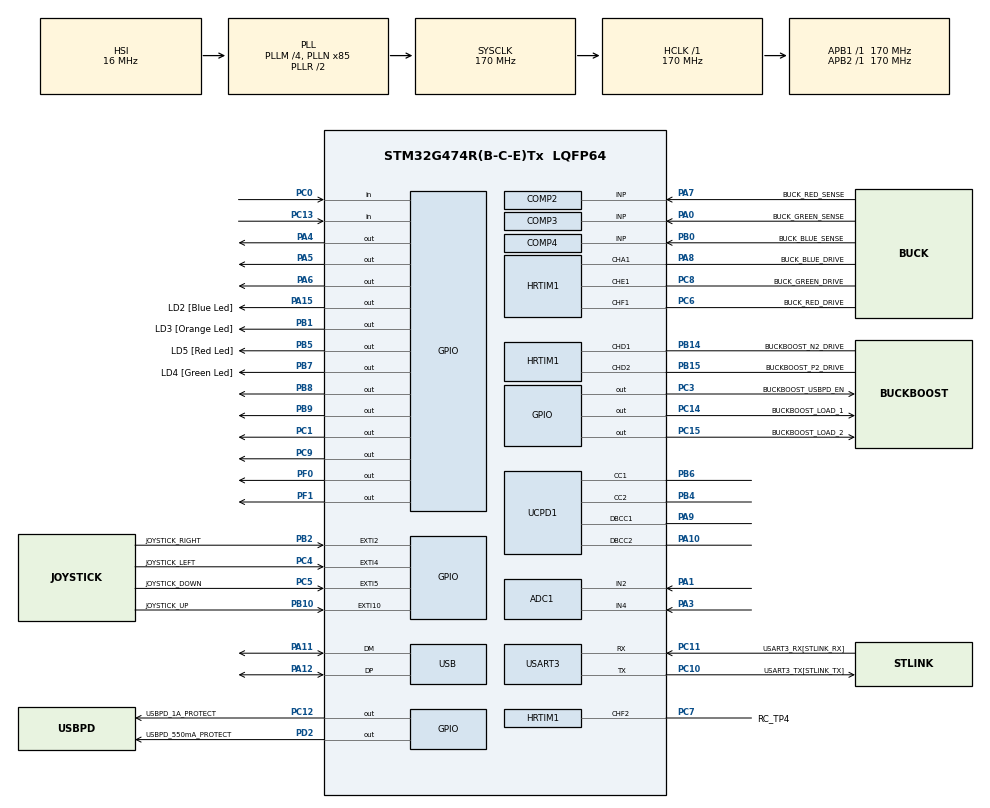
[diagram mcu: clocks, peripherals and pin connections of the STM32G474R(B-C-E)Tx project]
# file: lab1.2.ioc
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ADC1.Channel-2\#ChannelRegularConversion=ADC_CHANNEL_4
ADC1.ClockPrescaler=ADC_CLOCK_ASYNC_DIV4
ADC1.NbrOfConversionFlag=1
ADC1.OffsetNumber-2\#ChannelRegularConversion=ADC_OFFSET_NONE
ADC1.Rank-2\#ChannelRegularConversion=1
ADC1.SamplingTime-2\#ChannelRegularConversion=ADC_SAMPLETIME_2CYCLES_5
ADC1.master=1
DAC3.DAC_Channel-DAC_OUT2_Int=DAC_CHANNEL_2
Mcu.Family=STM32G4
Mcu.Name=STM32G474R(B-C-E)Tx
Mcu.Package=LQFP64
NVIC.EXTI15_10_IRQn=true\:0\:0\:false\:false\:true\:true\:true\:true
NVIC.EXTI2_IRQn=true\:0\:0\:false\:false\:true\:true\:true\:true
NVIC.EXTI4_IRQn=true\:0\:0\:false\:false\:true\:true\:true\:true
NVIC.EXTI9_5_IRQn=true\:0\:0\:false\:false\:true\:true\:true\:true
NVIC.HRTIM1_Master_IRQn=true\:0\:0\:false\:false\:true\:true\:true\:true
NVIC.HRTIM1_TIMF_IRQn=true\:0\:0\:false\:false\:true\:true\:true\:true
NVIC.PriorityGroup=NVIC_PRIORITYGROUP_4
NVIC.USART3_IRQn=true\:0\:0\:false\:false\:true\:true\:true\:true
NVIC.USB_HP_IRQn=true\:0\:0\:false\:false\:true\:true\:true\:true
PA0.GPIO_Label=BUCK_GREEN_SENSE
PA0.Mode=INP
PA0.Signal=COMP3_INP
PA1.Mode=IN2-Single-Ended
PA1.Signal=ADC1_IN2
PA10.Mode=EnableDeadBattery
PA10.Signal=UCPD1_DBCC2
PA11.Mode=Device
PA11.Signal=USB_DM
PA12.Mode=Device
PA12.Signal=USB_DP
PA13.Mode=Serial_Wire
PA13.Signal=SYS_JTMS-SWDIO
PA14.Mode=Serial_Wire
PA14.Signal=SYS_JTCK-SWCLK
PA15.GPIO_Label=LD2 [Blue Led]
PA15.Signal=GPIO_Output
PA2.GPIO_Label=BUCKBOOST_I_IN_AVG
PA2.Signal=ADC1_IN3
PA3.Mode=IN4-Single-Ended
PA3.Signal=ADC1_IN4
PA4.Signal=GPIO_Output
PA5.Signal=GPIO_Output
PA6.Signal=GPIO_Output
PA7.GPIO_Label=BUCK_RED_SENSE
PA7.Mode=INP
PA7.Signal=COMP2_INP
PA8.GPIO_Label=BUCK_BLUE_DRIVE
PA8.Mode=Output_TA1
PA8.Signal=HRTIM1_CHA1
PA9.Mode=EnableDeadBattery
PA9.Signal=UCPD1_DBCC1
PB0.GPIO_Label=BUCK_BLUE_SENSE
PB0.Mode=INP
PB0.Signal=COMP4_INP
PB1.GPIO_Label=LD3 [Orange Led]
PB1.Signal=GPIO_Output
PB10.GPIO_Label=JOYSTICK_UP
PB10.GPIO_PuPd=GPIO_PULLUP
PB10.Signal=GPXTI10
PB13.GPIO_Label=BUCKBOOST_N1_DRIVE
PB13.Signal=HRTIM1_CHC2
PB14.GPIO_Label=BUCKBOOST_N2_DRIVE
PB14.Mode=Output_TD1TD2
PB14.Signal=HRTIM1_CHD1
PB15.GPIO_Label=BUCKBOOST_P2_DRIVE
PB15.Mode=Output_TD1TD2
PB15.Signal=HRTIM1_CHD2
PB2.GPIO_Label=JOYSTICK_RIGHT
PB2.GPIO_PuPd=GPIO_PULLUP
PB2.Signal=GPXTI2
PB3.Signal=SYS_JTDO-SWO
PB4.Mode=Sink_AllSignals
PB4.Signal=UCPD1_CC2
PB5.GPIO_Label=LD5 [Red Led]
PB5.Signal=GPIO_Output
PB6.Mode=Sink_AllSignals
PB6.Signal=UCPD1_CC1
PB7.GPIO_Label=LD4 [Green Led]
PB7.Signal=GPIO_Output
PB8-BOOT0.Signal=GPIO_Output
PB9.Signal=GPIO_Output
PC0.GPIO_PuPd=GPIO_PULLDOWN
PC0.Signal=GPIO_Input
PC1.Signal=GPIO_Output
PC10.GPIO_Label=USART3_TX[STLINK_TX]
PC10.GPIO_Speed=GPIO_SPEED_FREQ_MEDIUM
PC10.Mode=Asynchronous
PC10.Signal=USART3_TX
PC11.GPIO_Label=USART3_RX[STLINK_RX]
PC11.GPIO_Speed=GPIO_SPEED_FREQ_MEDIUM
PC11.Mode=Asynchronous
PC11.Signal=USART3_RX
PC12.GPIO_Label=USBPD_1A_PROTECT
PC12.Signal=GPIO_Output
PC13.Signal=GPIO_Input
PC14-OSC32_IN.GPIO_Label=BUCKBOOST_LOAD_1
PC14-OSC32_IN.Signal=GPIO_Output
PC15-OSC32_OUT.GPIO_Label=BUCKBOOST_LOAD_2
PC15-OSC32_OUT.Signal=GPIO_Output
PC2.GPIO_Label=USBPD_VIN
PC2.Signal=ADC1_IN8
PC3.GPIO_Label=BUCKBOOST_USBPD_EN
PC3.Signal=GPIO_Output
PC4.GPIO_Label=JOYSTICK_LEFT
PC4.GPIO_PuPd=GPIO_PULLUP
PC4.Signal=GPXTI4
PC5.GPIO_Label=JOYSTICK_DOWN
PC5.GPIO_PuPd=GPIO_PULLUP
PC5.Signal=GPXTI5
PC6.GPIO_Label=BUCK_RED_DRIVE
PC6.Mode=Output_TF1TF2
PC6.Signal=HRTIM1_CHF1
PC7.GPIO_Label=RC_TP4
PC7.Mode=Output_TF1TF2
PC7.Signal=HRTIM1_CHF2
PC8.GPIO_Label=BUCK_GREEN_DRIVE
PC8.Mode=Output_TE1
PC8.Signal=HRTIM1_CHE1
PC9.Signal=GPIO_Output
PD2.GPIO_Label=USBPD_550mA_PROTECT
PD2.Signal=GPIO_Output
PF0-OSC_IN.Signal=GPIO_Output
PF1-OSC_OUT.Signal=GPIO_Output
ProjectManager.HeapSize=0x200
ProjectManager.StackSize=0x400
ProjectManager.TargetToolchain=STM32CubeIDE
RCC.ADC12Freq_Value=170000000
RCC.ADC345Freq_Value=170000000
RCC.AHBFreq_Value=170000000
RCC.APB1Freq_Value=170000000
RCC.APB1TimFreq_Value=170000000
RCC.APB2Freq_Value=170000000
RCC.APB2TimFreq_Value=170000000
RCC.CK48CLockSelection=RCC_USBCLKSOURCE_HSI48
RCC.CortexFreq_Value=170000000
RCC.EXTERNAL_CLOCK_VALUE=12288000
RCC.HCLKFreq_Value=170000000
RCC.HSE_VALUE=8000000
RCC.HSI48_VALUE=48000000
RCC.HSI_VALUE=16000000
RCC.LSE_VALUE=32768
RCC.PLLM=RCC_PLLM_DIV4
RCC.PLLN=85
RCC.PLLP=RCC_PLLP_DIV8
RCC.PLLQ=RCC_PLLQ_DIV8
RCC.SYSCLKFreq_VALUE=170000000
RCC.SYSCLKSource=RCC_SYSCLKSOURCE_PLLCLK
RCC.USBFreq_Value=48000000
RCC.VCOOutputFreq_Value=340000000
USART3.ClockPrescaler=PRESCALER_DIV4
USART3.VirtualMode-Asynchronous=VM_ASYNC
USART3.WordLength=WORDLENGTH_8B
VP_COMP2_VS_DAC3OUT2.Mode=INM_DAC3OUT2
VP_COMP3_VS_DAC3OUT1.Mode=INM_DAC3OUT1
VP_COMP4_VS_DAC1OUT1.Mode=INM_DAC1OUT1
VP_DAC1_VS_DACI1.Mode=DAC_OUT1_Int
VP_DAC2_VS_DACI1.Mode=DAC_OUT1_Int
VP_DAC3_VS_DACI1.Mode=DAC_OUT1_Int
VP_DAC3_VS_DACI2.Mode=DAC_OUT2_Int
VP_SYS_VS_DBSignals.Mode=DisableDeadBatterySignals
board=B-G474E-DPOW1

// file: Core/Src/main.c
/* USER CODE BEGIN Header */
/**
  ******************************************************************************
  * @file           : main.c
  * @brief          : Main program body
  ******************************************************************************
  * @attention
  *
  * Copyright (c) 2025 STMicroelectronics.
  * All rights reserved.
  *
  * This software is licensed under terms that can be found in the LICENSE file
  * in the root directory of this software component.
  * If no LICENSE file comes with this software, it is provided AS-IS.
  *
  ******************************************************************************
  */
/* USER CODE END Header */
#include "main.h"

ADC_HandleTypeDef hadc1;

COMP_HandleTypeDef hcomp2;
COMP_HandleTypeDef hcomp3;
COMP_HandleTypeDef hcomp4;

DAC_HandleTypeDef hdac1;
DAC_HandleTypeDef hdac2;
DAC_HandleTypeDef hdac3;

HRTIM_HandleTypeDef hhrtim1;

UART_HandleTypeDef huart3;

PCD_HandleTypeDef hpcd_USB_FS;

/* USER CODE BEGIN PV */
unsigned int LeftRight=0;
unsigned int UpDown=0;

unsigned int LeftRightRef=2100;
unsigned int UpDownRef=2000;
/* USER CODE END PV */

void SystemClock_Config(void);
static void MX_GPIO_Init(void);
static void MX_ADC1_Init(void);
static void MX_COMP2_Init(void);
static void MX_COMP3_Init(void);
static void MX_COMP4_Init(void);
static void MX_DAC1_Init(void);
static void MX_DAC2_Init(void);
static void MX_DAC3_Init(void);
static void MX_HRTIM1_Init(void);
static void MX_UCPD1_Init(void);
static void MX_USART3_UART_Init(void);
static void MX_USB_PCD_Init(void);

int main(void)
{

  /* MCU Configuration--------------------------------------------------------*/

  /* Reset of all peripherals, Initializes the Flash interface and the Systick. */
  HAL_Init();

  /* Configure the system clock */
  SystemClock_Config();

  /* Initialize all configured peripherals */
  MX_GPIO_Init();
  MX_ADC1_Init();
  MX_COMP2_Init();
  MX_COMP3_Init();
  MX_COMP4_Init();
  MX_DAC1_Init();
  MX_DAC2_Init();
  MX_DAC3_Init();
  MX_HRTIM1_Init();
  MX_UCPD1_Init();
  MX_USART3_UART_Init();
  MX_USB_PCD_Init();
  /* USER CODE BEGIN 2 */
HAL_ADC_Start(&hadc1);
while(HAL_ADC_PollForConversion(&hadc1, HAL_MAX_DELAY)!= HAL_OK)
{

}
LeftRight=HAL_ADC_GetValue(&hadc1);

InitGlass();
  /* USER CODE END 2 */

  /* Infinite loop */
  /* USER CODE BEGIN WHILE */
  while (1)
  {
	  char button=HAL_GPIO_ReadPin(GPIOC, GPIO_PIN_0);
	  if (button==1) {
HAL_GPIO_TogglePin(GPIOA, GPIO_PIN_4);
      HAL_Delay(500);
      HAL_GPIO_TogglePin(GPIOA, GPIO_PIN_4);
            HAL_Delay(500);
            HAL_GPIO_TogglePin(GPIOA, GPIO_PIN_4);
                  HAL_Delay(500);
                  HAL_GPIO_TogglePin(GPIOA, GPIO_PIN_4);
                        HAL_Delay(500);
                        HAL_GPIO_TogglePin(GPIOA, GPIO_PIN_4);
                        HAL_Delay(500);

	}
	  else {
		  HAL_GPIO_WritePin(GPIOA, GPIO_PIN_4, GPIO_PIN_RESET);
	      HAL_Delay(500);
	}
	  if (HAL_GPIO_ReadPin(GPIOB, GPIO_PIN_10)==0 && HAL_GPIO_ReadPin(GPIOC, GPIO_PIN_4)==1 && HAL_GPIO_ReadPin(GPIOB, GPIO_PIN_2)==1)
	  {
		HAL_GPIO_WritePin (GPIOF, GPIO_PIN_0, 1);
		HAL_GPIO_WritePin (GPIOF, GPIO_PIN_1, 0);
		HAL_GPIO_WritePin (GPIOA, GPIO_PIN_5, 1);
		HAL_GPIO_WritePin (GPIOC, GPIO_PIN_1, 1);
	  }
	  if (HAL_GPIO_ReadPin(GPIOC, GPIO_PIN_5)==0 && HAL_GPIO_ReadPin(GPIOC, GPIO_PIN_4)==1 && HAL_GPIO_ReadPin(GPIOB, GPIO_PIN_2)==1)
	 	 	  {
	 	 		HAL_GPIO_WritePin (GPIOF, GPIO_PIN_0, 0);
	 	 		HAL_GPIO_WritePin (GPIOF, GPIO_PIN_1, 1);
	 	 		HAL_GPIO_WritePin (GPIOA, GPIO_PIN_5, 0);
	 	 		HAL_GPIO_WritePin (GPIOC, GPIO_PIN_1, 1);
	 	 	  }
	  if (HAL_GPIO_ReadPin(GPIOB, GPIO_PIN_2)==1 && HAL_GPIO_ReadPin(GPIOC, GPIO_PIN_4)==1 && HAL_GPIO_ReadPin(GPIOC, GPIO_PIN_5)==1 && HAL_GPIO_ReadPin(GPIOB, GPIO_PIN_10)==1)
	 	 	  {
	 	 		HAL_GPIO_WritePin (GPIOF, GPIO_PIN_0, 0);
	 	 		HAL_GPIO_WritePin (GPIOF, GPIO_PIN_1, 0);
	 	 		HAL_GPIO_WritePin (GPIOA, GPIO_PIN_5, 0);
	 	 		HAL_GPIO_WritePin (GPIOC, GPIO_PIN_1, 0);
	  			HAL_GPIO_WritePin (GPIOA, GPIO_PIN_6, 0);
	  			HAL_GPIO_WritePin (GPIOB, GPIO_PIN_8, 0);
	  			HAL_GPIO_WritePin (GPIOB, GPIO_PIN_9, 0);
	  			HAL_GPIO_WritePin (GPIOC, GPIO_PIN_9, 0);
	 	 	  }
	  if (HAL_GPIO_ReadPin(GPIOC, GPIO_PIN_4)==0 && HAL_GPIO_ReadPin(GPIOB, GPIO_PIN_10)==1 && HAL_GPIO_ReadPin(GPIOC, GPIO_PIN_5)==1 )
		  {
			HAL_GPIO_WritePin (GPIOA, GPIO_PIN_6, 1);
			HAL_GPIO_WritePin (GPIOB, GPIO_PIN_8, 0);
			HAL_GPIO_WritePin (GPIOB, GPIO_PIN_9, 1);
			HAL_GPIO_WritePin (GPIOC, GPIO_PIN_9, 1);
		  }
	  if (HAL_GPIO_ReadPin(GPIOB, GPIO_PIN_2)==0 && HAL_GPIO_ReadPin(GPIOB, GPIO_PIN_10)==1 && HAL_GPIO_ReadPin(GPIOC, GPIO_PIN_5)==1)
	  		  {
	  			HAL_GPIO_WritePin (GPIOA, GPIO_PIN_6, 0);
	  			HAL_GPIO_WritePin (GPIOB, GPIO_PIN_8, 1);
	  			HAL_GPIO_WritePin (GPIOB, GPIO_PIN_9, 0);
	  			HAL_GPIO_WritePin (GPIOC, GPIO_PIN_9, 1);
	  		  }
    /* USER CODE END WHILE */

  }
}

void SystemClock_Config(void)
{
  RCC_OscInitTypeDef RCC_OscInitStruct = {0};
  RCC_ClkInitTypeDef RCC_ClkInitStruct = {0};

  /** Configure the main internal regulator output voltage
  */
  HAL_PWREx_ControlVoltageScaling(PWR_REGULATOR_VOLTAGE_SCALE1_BOOST);

  /** Initializes the RCC Oscillators according to the specified parameters
  * in the RCC_OscInitTypeDef structure.
  */
  RCC_OscInitStruct.OscillatorType = RCC_OSCILLATORTYPE_HSI|RCC_OSCILLATORTYPE_HSI48;
  RCC_OscInitStruct.HSIState = RCC_HSI_ON;
  RCC_OscInitStruct.HSICalibrationValue = RCC_HSICALIBRATION_DEFAULT;
  RCC_OscInitStruct.HSI48State = RCC_HSI48_ON;
  RCC_OscInitStruct.PLL.PLLState = RCC_PLL_ON;
  RCC_OscInitStruct.PLL.PLLSource = RCC_PLLSOURCE_HSI;
  RCC_OscInitStruct.PLL.PLLM = RCC_PLLM_DIV4;
  RCC_OscInitStruct.PLL.PLLN = 85;
  RCC_OscInitStruct.PLL.PLLP = RCC_PLLP_DIV8;
  RCC_OscInitStruct.PLL.PLLQ = RCC_PLLQ_DIV8;
  RCC_OscInitStruct.PLL.PLLR = RCC_PLLR_DIV2;
  if (HAL_RCC_OscConfig(&RCC_OscInitStruct) != HAL_OK)
  {
    Error_Handler();
  }

  /** Initializes the CPU, AHB and APB buses clocks
  */
  RCC_ClkInitStruct.ClockType = RCC_CLOCKTYPE_HCLK|RCC_CLOCKTYPE_SYSCLK
                              |RCC_CLOCKTYPE_PCLK1|RCC_CLOCKTYPE_PCLK2;
  RCC_ClkInitStruct.SYSCLKSource = RCC_SYSCLKSOURCE_PLLCLK;
  RCC_ClkInitStruct.AHBCLKDivider = RCC_SYSCLK_DIV1;
  RCC_ClkInitStruct.APB1CLKDivider = RCC_HCLK_DIV1;
  RCC_ClkInitStruct.APB2CLKDivider = RCC_HCLK_DIV1;

  if (HAL_RCC_ClockConfig(&RCC_ClkInitStruct, FLASH_LATENCY_4) != HAL_OK)
  {
    Error_Handler();
  }
}

static void MX_ADC1_Init(void)
{

  ADC_MultiModeTypeDef multimode = {0};
  ADC_ChannelConfTypeDef sConfig = {0};

  /** Common config
  */
  hadc1.Instance = ADC1;
  hadc1.Init.ClockPrescaler = ADC_CLOCK_ASYNC_DIV4;
  hadc1.Init.Resolution = ADC_RESOLUTION_12B;
  hadc1.Init.DataAlign = ADC_DATAALIGN_RIGHT;
  hadc1.Init.GainCompensation = 0;
  hadc1.Init.ScanConvMode = ADC_SCAN_DISABLE;
  hadc1.Init.EOCSelection = ADC_EOC_SINGLE_CONV;
  hadc1.Init.LowPowerAutoWait = DISABLE;
  hadc1.Init.ContinuousConvMode = DISABLE;
  hadc1.Init.NbrOfConversion = 1;
  hadc1.Init.DiscontinuousConvMode = DISABLE;
  hadc1.Init.ExternalTrigConv = ADC_SOFTWARE_START;
  hadc1.Init.ExternalTrigConvEdge = ADC_EXTERNALTRIGCONVEDGE_NONE;
  hadc1.Init.DMAContinuousRequests = DISABLE;
  hadc1.Init.Overrun = ADC_OVR_DATA_PRESERVED;
  hadc1.Init.OversamplingMode = DISABLE;
  if (HAL_ADC_Init(&hadc1) != HAL_OK)
  {
    Error_Handler();
  }

  /** Configure the ADC multi-mode
  */
  multimode.Mode = ADC_MODE_INDEPENDENT;
  if (HAL_ADCEx_MultiModeConfigChannel(&hadc1, &multimode) != HAL_OK)
  {
    Error_Handler();
  }

  /** Configure Regular Channel
  */
  sConfig.Channel = ADC_CHANNEL_4;
  sConfig.Rank = ADC_REGULAR_RANK_1;
  sConfig.SamplingTime = ADC_SAMPLETIME_2CYCLES_5;
  sConfig.SingleDiff = ADC_SINGLE_ENDED;
  sConfig.OffsetNumber = ADC_OFFSET_NONE;
  sConfig.Offset = 0;
  if (HAL_ADC_ConfigChannel(&hadc1, &sConfig) != HAL_OK)
  {
    Error_Handler();
  }

}

static void MX_COMP2_Init(void)
{

  hcomp2.Instance = COMP2;
  hcomp2.Init.InputPlus = COMP_INPUT_PLUS_IO1;
  hcomp2.Init.InputMinus = COMP_INPUT_MINUS_DAC3_CH2;
  hcomp2.Init.OutputPol = COMP_OUTPUTPOL_NONINVERTED;
  hcomp2.Init.Hysteresis = COMP_HYSTERESIS_NONE;
  hcomp2.Init.BlankingSrce = COMP_BLANKINGSRC_NONE;
  hcomp2.Init.TriggerMode = COMP_TRIGGERMODE_NONE;
  if (HAL_COMP_Init(&hcomp2) != HAL_OK)
  {
    Error_Handler();
  }

}

static void MX_COMP3_Init(void)
{

  hcomp3.Instance = COMP3;
  hcomp3.Init.InputPlus = COMP_INPUT_PLUS_IO1;
  hcomp3.Init.InputMinus = COMP_INPUT_MINUS_DAC3_CH1;
  hcomp3.Init.OutputPol = COMP_OUTPUTPOL_NONINVERTED;
  hcomp3.Init.Hysteresis = COMP_HYSTERESIS_NONE;
  hcomp3.Init.BlankingSrce = COMP_BLANKINGSRC_NONE;
  hcomp3.Init.TriggerMode = COMP_TRIGGERMODE_NONE;
  if (HAL_COMP_Init(&hcomp3) != HAL_OK)
  {
    Error_Handler();
  }

}

static void MX_COMP4_Init(void)
{

  hcomp4.Instance = COMP4;
  hcomp4.Init.InputPlus = COMP_INPUT_PLUS_IO1;
  hcomp4.Init.InputMinus = COMP_INPUT_MINUS_DAC1_CH1;
  hcomp4.Init.OutputPol = COMP_OUTPUTPOL_NONINVERTED;
  hcomp4.Init.Hysteresis = COMP_HYSTERESIS_NONE;
  hcomp4.Init.BlankingSrce = COMP_BLANKINGSRC_NONE;
  hcomp4.Init.TriggerMode = COMP_TRIGGERMODE_NONE;
  if (HAL_COMP_Init(&hcomp4) != HAL_OK)
  {
    Error_Handler();
  }

}

static void MX_DAC1_Init(void)
{

  DAC_ChannelConfTypeDef sConfig = {0};

  /** DAC Initialization
  */
  hdac1.Instance = DAC1;
  if (HAL_DAC_Init(&hdac1) != HAL_OK)
  {
    Error_Handler();
  }

  /** DAC channel OUT1 config
  */
  sConfig.DAC_HighFrequency = DAC_HIGH_FREQUENCY_INTERFACE_MODE_AUTOMATIC;
  sConfig.DAC_DMADoubleDataMode = DISABLE;
  sConfig.DAC_SignedFormat = DISABLE;
  sConfig.DAC_SampleAndHold = DAC_SAMPLEANDHOLD_DISABLE;
  sConfig.DAC_Trigger = DAC_TRIGGER_NONE;
  sConfig.DAC_Trigger2 = DAC_TRIGGER_NONE;
  sConfig.DAC_OutputBuffer = DAC_OUTPUTBUFFER_DISABLE;
  sConfig.DAC_ConnectOnChipPeripheral = DAC_CHIPCONNECT_INTERNAL;
  sConfig.DAC_UserTrimming = DAC_TRIMMING_FACTORY;
  if (HAL_DAC_ConfigChannel(&hdac1, &sConfig, DAC_CHANNEL_1) != HAL_OK)
  {
    Error_Handler();
  }

}

static void MX_DAC2_Init(void)
{

  DAC_ChannelConfTypeDef sConfig = {0};

  /** DAC Initialization
  */
  hdac2.Instance = DAC2;
  if (HAL_DAC_Init(&hdac2) != HAL_OK)
  {
    Error_Handler();
  }

  /** DAC channel OUT1 config
  */
  sConfig.DAC_HighFrequency = DAC_HIGH_FREQUENCY_INTERFACE_MODE_AUTOMATIC;
  sConfig.DAC_DMADoubleDataMode = DISABLE;
  sConfig.DAC_SignedFormat = DISABLE;
  sConfig.DAC_SampleAndHold = DAC_SAMPLEANDHOLD_DISABLE;
  sConfig.DAC_Trigger = DAC_TRIGGER_NONE;
  sConfig.DAC_Trigger2 = DAC_TRIGGER_NONE;
  sConfig.DAC_OutputBuffer = DAC_OUTPUTBUFFER_DISABLE;
  sConfig.DAC_ConnectOnChipPeripheral = DAC_CHIPCONNECT_INTERNAL;
  sConfig.DAC_UserTrimming = DAC_TRIMMING_FACTORY;
  if (HAL_DAC_ConfigChannel(&hdac2, &sConfig, DAC_CHANNEL_1) != HAL_OK)
  {
    Error_Handler();
  }

}

static void MX_DAC3_Init(void)
{

  DAC_ChannelConfTypeDef sConfig = {0};

  /** DAC Initialization
  */
  hdac3.Instance = DAC3;
  if (HAL_DAC_Init(&hdac3) != HAL_OK)
  {
    Error_Handler();
  }

  /** DAC channel OUT1 config
  */
  sConfig.DAC_HighFrequency = DAC_HIGH_FREQUENCY_INTERFACE_MODE_AUTOMATIC;
  sConfig.DAC_DMADoubleDataMode = DISABLE;
  sConfig.DAC_SignedFormat = DISABLE;
  sConfig.DAC_SampleAndHold = DAC_SAMPLEANDHOLD_DISABLE;
  sConfig.DAC_Trigger = DAC_TRIGGER_NONE;
  sConfig.DAC_Trigger2 = DAC_TRIGGER_NONE;
  sConfig.DAC_OutputBuffer = DAC_OUTPUTBUFFER_DISABLE;
  sConfig.DAC_ConnectOnChipPeripheral = DAC_CHIPCONNECT_INTERNAL;
  sConfig.DAC_UserTrimming = DAC_TRIMMING_FACTORY;
  if (HAL_DAC_ConfigChannel(&hdac3, &sConfig, DAC_CHANNEL_1) != HAL_OK)
  {
    Error_Handler();
  }

  /** DAC channel OUT2 config
  */
  if (HAL_DAC_ConfigChannel(&hdac3, &sConfig, DAC_CHANNEL_2) != HAL_OK)
  {
    Error_Handler();
  }

}

static void MX_HRTIM1_Init(void)
{

  HRTIM_TimeBaseCfgTypeDef pTimeBaseCfg = {0};
  HRTIM_TimerCtlTypeDef pTimerCtl = {0};
  HRTIM_TimerCfgTypeDef pTimerCfg = {0};
  HRTIM_OutputCfgTypeDef pOutputCfg = {0};

  hhrtim1.Instance = HRTIM1;
  hhrtim1.Init.HRTIMInterruptResquests = HRTIM_IT_NONE;
  hhrtim1.Init.SyncOptions = HRTIM_SYNCOPTION_NONE;
  if (HAL_HRTIM_Init(&hhrtim1) != HAL_OK)
  {
    Error_Handler();
  }
  if (HAL_HRTIM_DLLCalibrationStart(&hhrtim1, HRTIM_CALIBRATIONRATE_3) != HAL_OK)
  {
    Error_Handler();
  }
  if (HAL_HRTIM_PollForDLLCalibration(&hhrtim1, 10) != HAL_OK)
  {
    Error_Handler();
  }
  pTimeBaseCfg.Period = 0xFFDF;
  pTimeBaseCfg.RepetitionCounter = 0x00;
  pTimeBaseCfg.PrescalerRatio = HRTIM_PRESCALERRATIO_MUL32;
  pTimeBaseCfg.Mode = HRTIM_MODE_CONTINUOUS;
  if (HAL_HRTIM_TimeBaseConfig(&hhrtim1, HRTIM_TIMERINDEX_TIMER_A, &pTimeBaseCfg) != HAL_OK)
  {
    Error_Handler();
  }
  pTimerCtl.UpDownMode = HRTIM_TIMERUPDOWNMODE_UP;
  pTimerCtl.DualChannelDacEnable = HRTIM_TIMER_DCDE_DISABLED;
  if (HAL_HRTIM_WaveformTimerControl(&hhrtim1, HRTIM_TIMERINDEX_TIMER_A, &pTimerCtl) != HAL_OK)
  {
    Error_Handler();
  }
  pTimerCfg.InterruptRequests = HRTIM_TIM_IT_NONE;
  pTimerCfg.DMARequests = HRTIM_TIM_DMA_NONE;
  pTimerCfg.DMASrcAddress = 0x0000;
  pTimerCfg.DMADstAddress = 0x0000;
  pTimerCfg.DMASize = 0x1;
  pTimerCfg.HalfModeEnable = HRTIM_HALFMODE_DISABLED;
  pTimerCfg.InterleavedMode = HRTIM_INTERLEAVED_MODE_DISABLED;
  pTimerCfg.StartOnSync = HRTIM_SYNCSTART_DISABLED;
  pTimerCfg.ResetOnSync = HRTIM_SYNCRESET_DISABLED;
  pTimerCfg.DACSynchro = HRTIM_DACSYNC_NONE;
  pTimerCfg.PreloadEnable = HRTIM_PRELOAD_DISABLED;
  pTimerCfg.UpdateGating = HRTIM_UPDATEGATING_INDEPENDENT;
  pTimerCfg.BurstMode = HRTIM_TIMERBURSTMODE_MAINTAINCLOCK;
  pTimerCfg.RepetitionUpdate = HRTIM_UPDATEONREPETITION_DISABLED;
  pTimerCfg.PushPull = HRTIM_TIMPUSHPULLMODE_DISABLED;
  pTimerCfg.FaultEnable = HRTIM_TIMFAULTENABLE_NONE;
  pTimerCfg.FaultLock = HRTIM_TIMFAULTLOCK_READWRITE;
  pTimerCfg.DeadTimeInsertion = HRTIM_TIMDEADTIMEINSERTION_DISABLED;
  pTimerCfg.DelayedProtectionMode = HRTIM_TIMER_A_B_C_DELAYEDPROTECTION_DISABLED;
  pTimerCfg.UpdateTrigger = HRTIM_TIMUPDATETRIGGER_NONE;
  pTimerCfg.ResetTrigger = HRTIM_TIMRESETTRIGGER_NONE;
  pTimerCfg.ResetUpdate = HRTIM_TIMUPDATEONRESET_DISABLED;
  pTimerCfg.ReSyncUpdate = HRTIM_TIMERESYNC_UPDATE_UNCONDITIONAL;
  if (HAL_HRTIM_WaveformTimerConfig(&hhrtim1, HRTIM_TIMERINDEX_TIMER_A, &pTimerCfg) != HAL_OK)
  {
    Error_Handler();
  }
  pTimerCfg.DelayedProtectionMode = HRTIM_TIMER_D_E_DELAYEDPROTECTION_DISABLED;
  if (HAL_HRTIM_WaveformTimerConfig(&hhrtim1, HRTIM_TIMERINDEX_TIMER_D, &pTimerCfg) != HAL_OK)
  {
    Error_Handler();
  }
  if (HAL_HRTIM_WaveformTimerConfig(&hhrtim1, HRTIM_TIMERINDEX_TIMER_E, &pTimerCfg) != HAL_OK)
  {
    Error_Handler();
  }
  pTimerCfg.DelayedProtectionMode = HRTIM_TIMER_F_DELAYEDPROTECTION_DISABLED;
  if (HAL_HRTIM_WaveformTimerConfig(&hhrtim1, HRTIM_TIMERINDEX_TIMER_F, &pTimerCfg) != HAL_OK)
  {
    Error_Handler();
  }
  pOutputCfg.Polarity = HRTIM_OUTPUTPOLARITY_HIGH;
  pOutputCfg.SetSource = HRTIM_OUTPUTSET_NONE;
  pOutputCfg.ResetSource = HRTIM_OUTPUTRESET_NONE;
  pOutputCfg.IdleMode = HRTIM_OUTPUTIDLEMODE_NONE;
  pOutputCfg.IdleLevel = HRTIM_OUTPUTIDLELEVEL_INACTIVE;
  pOutputCfg.FaultLevel = HRTIM_OUTPUTFAULTLEVEL_NONE;
  pOutputCfg.ChopperModeEnable = HRTIM_OUTPUTCHOPPERMODE_DISABLED;
  pOutputCfg.BurstModeEntryDelayed = HRTIM_OUTPUTBURSTMODEENTRY_REGULAR;
  if (HAL_HRTIM_WaveformOutputConfig(&hhrtim1, HRTIM_TIMERINDEX_TIMER_A, HRTIM_OUTPUT_TA1, &pOutputCfg) != HAL_OK)
  {
    Error_Handler();
  }
  if (HAL_HRTIM_WaveformOutputConfig(&hhrtim1, HRTIM_TIMERINDEX_TIMER_D, HRTIM_OUTPUT_TD1, &pOutputCfg) != HAL_OK)
  {
    Error_Handler();
  }
  if (HAL_HRTIM_WaveformOutputConfig(&hhrtim1, HRTIM_TIMERINDEX_TIMER_E, HRTIM_OUTPUT_TE1, &pOutputCfg) != HAL_OK)
  {
    Error_Handler();
  }
  if (HAL_HRTIM_WaveformOutputConfig(&hhrtim1, HRTIM_TIMERINDEX_TIMER_F, HRTIM_OUTPUT_TF1, &pOutputCfg) != HAL_OK)
  {
    Error_Handler();
  }
  if (HAL_HRTIM_TimeBaseConfig(&hhrtim1, HRTIM_TIMERINDEX_TIMER_D, &pTimeBaseCfg) != HAL_OK)
  {
    Error_Handler();
  }
  if (HAL_HRTIM_WaveformTimerControl(&hhrtim1, HRTIM_TIMERINDEX_TIMER_D, &pTimerCtl) != HAL_OK)
  {
    Error_Handler();
  }
  if (HAL_HRTIM_WaveformOutputConfig(&hhrtim1, HRTIM_TIMERINDEX_TIMER_D, HRTIM_OUTPUT_TD2, &pOutputCfg) != HAL_OK)
  {
    Error_Handler();
  }
  if (HAL_HRTIM_WaveformOutputConfig(&hhrtim1, HRTIM_TIMERINDEX_TIMER_F, HRTIM_OUTPUT_TF2, &pOutputCfg) != HAL_OK)
  {
    Error_Handler();
  }
  if (HAL_HRTIM_TimeBaseConfig(&hhrtim1, HRTIM_TIMERINDEX_TIMER_E, &pTimeBaseCfg) != HAL_OK)
  {
    Error_Handler();
  }
  if (HAL_HRTIM_WaveformTimerControl(&hhrtim1, HRTIM_TIMERINDEX_TIMER_E, &pTimerCtl) != HAL_OK)
  {
    Error_Handler();
  }
  if (HAL_HRTIM_TimeBaseConfig(&hhrtim1, HRTIM_TIMERINDEX_TIMER_F, &pTimeBaseCfg) != HAL_OK)
  {
    Error_Handler();
  }
  if (HAL_HRTIM_WaveformTimerControl(&hhrtim1, HRTIM_TIMERINDEX_TIMER_F, &pTimerCtl) != HAL_OK)
  {
    Error_Handler();
  }
  HAL_HRTIM_MspPostInit(&hhrtim1);

}

static void MX_UCPD1_Init(void)
{

  LL_GPIO_InitTypeDef GPIO_InitStruct = {0};

  /* Peripheral clock enable */
  LL_APB1_GRP2_EnableClock(LL_APB1_GRP2_PERIPH_UCPD1);

  LL_AHB2_GRP1_EnableClock(LL_AHB2_GRP1_PERIPH_GPIOB);
  /**UCPD1 GPIO Configuration
  PB4   ------> UCPD1_CC2
  PB6   ------> UCPD1_CC1
  */
  GPIO_InitStruct.Pin = LL_GPIO_PIN_4;
  GPIO_InitStruct.Mode = LL_GPIO_MODE_ANALOG;
  GPIO_InitStruct.Pull = LL_GPIO_PULL_NO;
  LL_GPIO_Init(GPIOB, &GPIO_InitStruct);

  GPIO_InitStruct.Pin = LL_GPIO_PIN_6;
  GPIO_InitStruct.Mode = LL_GPIO_MODE_ANALOG;
  GPIO_InitStruct.Pull = LL_GPIO_PULL_NO;
  LL_GPIO_Init(GPIOB, &GPIO_InitStruct);

}

static void MX_USART3_UART_Init(void)
{

  huart3.Instance = USART3;
  huart3.Init.BaudRate = 115200;
  huart3.Init.WordLength = UART_WORDLENGTH_8B;
  huart3.Init.StopBits = UART_STOPBITS_1;
  huart3.Init.Parity = UART_PARITY_NONE;
  huart3.Init.Mode = UART_MODE_TX_RX;
  huart3.Init.HwFlowCtl = UART_HWCONTROL_NONE;
  huart3.Init.OverSampling = UART_OVERSAMPLING_16;
  huart3.Init.OneBitSampling = UART_ONE_BIT_SAMPLE_DISABLE;
  huart3.Init.ClockPrescaler = UART_PRESCALER_DIV4;
  huart3.AdvancedInit.AdvFeatureInit = UART_ADVFEATURE_NO_INIT;
  if (HAL_UART_Init(&huart3) != HAL_OK)
  {
    Error_Handler();
  }
  if (HAL_UARTEx_SetTxFifoThreshold(&huart3, UART_TXFIFO_THRESHOLD_1_8) != HAL_OK)
  {
    Error_Handler();
  }
  if (HAL_UARTEx_SetRxFifoThreshold(&huart3, UART_RXFIFO_THRESHOLD_1_8) != HAL_OK)
  {
    Error_Handler();
  }
  if (HAL_UARTEx_DisableFifoMode(&huart3) != HAL_OK)
  {
    Error_Handler();
  }

}

static void MX_USB_PCD_Init(void)
{

  hpcd_USB_FS.Instance = USB;
  hpcd_USB_FS.Init.dev_endpoints = 8;
  hpcd_USB_FS.Init.speed = PCD_SPEED_FULL;
  hpcd_USB_FS.Init.phy_itface = PCD_PHY_EMBEDDED;
  hpcd_USB_FS.Init.Sof_enable = DISABLE;
  hpcd_USB_FS.Init.low_power_enable = DISABLE;
  hpcd_USB_FS.Init.lpm_enable = DISABLE;
  hpcd_USB_FS.Init.battery_charging_enable = DISABLE;
  if (HAL_PCD_Init(&hpcd_USB_FS) != HAL_OK)
  {
    Error_Handler();
  }

}

static void MX_GPIO_Init(void)
{
  GPIO_InitTypeDef GPIO_InitStruct = {0};

  /* GPIO Ports Clock Enable */
  __HAL_RCC_GPIOC_CLK_ENABLE();
  __HAL_RCC_GPIOF_CLK_ENABLE();
  __HAL_RCC_GPIOA_CLK_ENABLE();
  __HAL_RCC_GPIOB_CLK_ENABLE();
  __HAL_RCC_GPIOD_CLK_ENABLE();

  /*Configure GPIO pin Output Level */
  HAL_GPIO_WritePin(GPIOC, BUCKBOOST_LOAD_1_Pin|BUCKBOOST_LOAD_2_Pin|GPIO_PIN_1|BUCKBOOST_USBPD_EN_Pin
                          |GPIO_PIN_9|USBPD_1A_PROTECT_Pin, GPIO_PIN_RESET);

  /*Configure GPIO pin Output Level */
  HAL_GPIO_WritePin(GPIOF, GPIO_PIN_0|GPIO_PIN_1, GPIO_PIN_RESET);

  /*Configure GPIO pin Output Level */
  HAL_GPIO_WritePin(GPIOA, GPIO_PIN_4|GPIO_PIN_5|GPIO_PIN_6|LD2_Pin, GPIO_PIN_RESET);

  /*Configure GPIO pin Output Level */
  HAL_GPIO_WritePin(GPIOB, LD3_Pin|LD5_Pin|LD4_Pin|GPIO_PIN_8
                          |GPIO_PIN_9, GPIO_PIN_RESET);

  /*Configure GPIO pin Output Level */
  HAL_GPIO_WritePin(USBPD_550mA_PROTECT_GPIO_Port, USBPD_550mA_PROTECT_Pin, GPIO_PIN_RESET);

  /*Configure GPIO pin : PC13 */
  GPIO_InitStruct.Pin = GPIO_PIN_13;
  GPIO_InitStruct.Mode = GPIO_MODE_INPUT;
  GPIO_InitStruct.Pull = GPIO_NOPULL;
  HAL_GPIO_Init(GPIOC, &GPIO_InitStruct);

  /*Configure GPIO pins : BUCKBOOST_LOAD_1_Pin BUCKBOOST_LOAD_2_Pin PC1 BUCKBOOST_USBPD_EN_Pin
                           PC9 USBPD_1A_PROTECT_Pin */
  GPIO_InitStruct.Pin = BUCKBOOST_LOAD_1_Pin|BUCKBOOST_LOAD_2_Pin|GPIO_PIN_1|BUCKBOOST_USBPD_EN_Pin
                          |GPIO_PIN_9|USBPD_1A_PROTECT_Pin;
  GPIO_InitStruct.Mode = GPIO_MODE_OUTPUT_PP;
  GPIO_InitStruct.Pull = GPIO_NOPULL;
  GPIO_InitStruct.Speed = GPIO_SPEED_FREQ_LOW;
  HAL_GPIO_Init(GPIOC, &GPIO_InitStruct);

  /*Configure GPIO pins : PF0 PF1 */
  GPIO_InitStruct.Pin = GPIO_PIN_0|GPIO_PIN_1;
  GPIO_InitStruct.Mode = GPIO_MODE_OUTPUT_PP;
  GPIO_InitStruct.Pull = GPIO_NOPULL;
  GPIO_InitStruct.Speed = GPIO_SPEED_FREQ_LOW;
  HAL_GPIO_Init(GPIOF, &GPIO_InitStruct);

  /*Configure GPIO pin : PC0 */
  GPIO_InitStruct.Pin = GPIO_PIN_0;
  GPIO_InitStruct.Mode = GPIO_MODE_INPUT;
  GPIO_InitStruct.Pull = GPIO_PULLDOWN;
  HAL_GPIO_Init(GPIOC, &GPIO_InitStruct);

  /*Configure GPIO pins : PA4 PA5 PA6 LD2_Pin */
  GPIO_InitStruct.Pin = GPIO_PIN_4|GPIO_PIN_5|GPIO_PIN_6|LD2_Pin;
  GPIO_InitStruct.Mode = GPIO_MODE_OUTPUT_PP;
  GPIO_InitStruct.Pull = GPIO_NOPULL;
  GPIO_InitStruct.Speed = GPIO_SPEED_FREQ_LOW;
  HAL_GPIO_Init(GPIOA, &GPIO_InitStruct);

  /*Configure GPIO pins : JOYSTICK_LEFT_Pin JOYSTICK_DOWN_Pin */
  GPIO_InitStruct.Pin = JOYSTICK_LEFT_Pin|JOYSTICK_DOWN_Pin;
  GPIO_InitStruct.Mode = GPIO_MODE_IT_RISING;
  GPIO_InitStruct.Pull = GPIO_PULLUP;
  HAL_GPIO_Init(GPIOC, &GPIO_InitStruct);

  /*Configure GPIO pins : LD3_Pin LD5_Pin LD4_Pin PB8
                           PB9 */
  GPIO_InitStruct.Pin = LD3_Pin|LD5_Pin|LD4_Pin|GPIO_PIN_8
                          |GPIO_PIN_9;
  GPIO_InitStruct.Mode = GPIO_MODE_OUTPUT_PP;
  GPIO_InitStruct.Pull = GPIO_NOPULL;
  GPIO_InitStruct.Speed = GPIO_SPEED_FREQ_LOW;
  HAL_GPIO_Init(GPIOB, &GPIO_InitStruct);

  /*Configure GPIO pins : JOYSTICK_RIGHT_Pin JOYSTICK_UP_Pin */
  GPIO_InitStruct.Pin = JOYSTICK_RIGHT_Pin|JOYSTICK_UP_Pin;
  GPIO_InitStruct.Mode = GPIO_MODE_IT_RISING;
  GPIO_InitStruct.Pull = GPIO_PULLUP;
  HAL_GPIO_Init(GPIOB, &GPIO_InitStruct);

  /*Configure GPIO pin : USBPD_550mA_PROTECT_Pin */
  GPIO_InitStruct.Pin = USBPD_550mA_PROTECT_Pin;
  GPIO_InitStruct.Mode = GPIO_MODE_OUTPUT_PP;
  GPIO_InitStruct.Pull = GPIO_NOPULL;
  GPIO_InitStruct.Speed = GPIO_SPEED_FREQ_LOW;
  HAL_GPIO_Init(USBPD_550mA_PROTECT_GPIO_Port, &GPIO_InitStruct);

  /* EXTI interrupt init*/
  HAL_NVIC_SetPriority(EXTI2_IRQn, 0, 0);
  HAL_NVIC_EnableIRQ(EXTI2_IRQn);

  HAL_NVIC_SetPriority(EXTI4_IRQn, 0, 0);
  HAL_NVIC_EnableIRQ(EXTI4_IRQn);

  HAL_NVIC_SetPriority(EXTI9_5_IRQn, 0, 0);
  HAL_NVIC_EnableIRQ(EXTI9_5_IRQn);

  HAL_NVIC_SetPriority(EXTI15_10_IRQn, 0, 0);
  HAL_NVIC_EnableIRQ(EXTI15_10_IRQn);

}

/* USER CODE BEGIN 4 */
void InitGlass()
{
	while((LeftRightRef>LeftRight +50 || LeftRightRef<LeftRight -50) && (UpDownRef>UpDown +50 || UpDownRef<UpDown -50))
	{
		if(LeftRightRef >LeftRight )
		{
			HAL_GPIO_WritePin (GPIOF, GPIO_PIN_0, 0);
			HAL_GPIO_WritePin (GPIOF, GPIO_PIN_1, 1);
			HAL_GPIO_WritePin (GPIOA, GPIO_PIN_5, 0);
			HAL_GPIO_WritePin (GPIOC, GPIO_PIN_1, 1);
		}
		else
		{
					HAL_GPIO_WritePin (GPIOF, GPIO_PIN_0, 1);
						HAL_GPIO_WritePin (GPIOF, GPIO_PIN_1, 0);
						HAL_GPIO_WritePin (GPIOA, GPIO_PIN_5, 1);
						HAL_GPIO_WritePin (GPIOC, GPIO_PIN_1, 1);

		}
		HAL_ADC_Start(&hadc1);
		while(HAL_ADC_PollForConversion(&hadc1, HAL_MAX_DELAY)!= HAL_OK)
		{

		}
		LeftRight=HAL_ADC_GetValue(&hadc1);

		if(UpDownRef >UpDown )
		{
			            HAL_GPIO_WritePin (GPIOA, GPIO_PIN_6, 1);
						HAL_GPIO_WritePin (GPIOB, GPIO_PIN_8, 0);
						HAL_GPIO_WritePin (GPIOB, GPIO_PIN_9, 1);
						HAL_GPIO_WritePin (GPIOC, GPIO_PIN_9, 1);
					  }
		else
		{
			            HAL_GPIO_WritePin (GPIOA, GPIO_PIN_6, 0);
						HAL_GPIO_WritePin (GPIOB, GPIO_PIN_8, 1);
						HAL_GPIO_WritePin (GPIOB, GPIO_PIN_9, 0);
						HAL_GPIO_WritePin (GPIOC, GPIO_PIN_9, 1);

		}
		HAL_ADC_Start(&hadc1);
		while(HAL_ADC_PollForConversion(&hadc1, HAL_MAX_DELAY)!= HAL_OK)
		{

		}
		UpDown=HAL_ADC_GetValue(&hadc1);
	}
	HAL_GPIO_WritePin (GPIOF, GPIO_PIN_0, 0);
	HAL_GPIO_WritePin (GPIOF, GPIO_PIN_1, 0);
	HAL_GPIO_WritePin (GPIOA, GPIO_PIN_5, 0);
	HAL_GPIO_WritePin (GPIOC, GPIO_PIN_1, 0);
	HAL_GPIO_WritePin (GPIOA, GPIO_PIN_6, 0);
	HAL_GPIO_WritePin (GPIOB, GPIO_PIN_8, 0);
	HAL_GPIO_WritePin (GPIOB, GPIO_PIN_9, 0);
	HAL_GPIO_WritePin (GPIOC, GPIO_PIN_9, 0);

//	while(LeftRightRef>LeftRight +50 || LeftRightRef<LeftRight -50)
//	{
//		HAL_ADC_Start(&hadc1);
//		while(HAL_ADC_PollForConversion(&hadc1, HAL_MAX_DELAY)!= HAL_OK)
//		{
//
//		}
//		UpDown=HAL_ADC_GetValue(&hadc1);
//	}

}
/* USER CODE END 4 */

void Error_Handler(void)
{
  __disable_irq();
  while (1)
  {
  }
}
